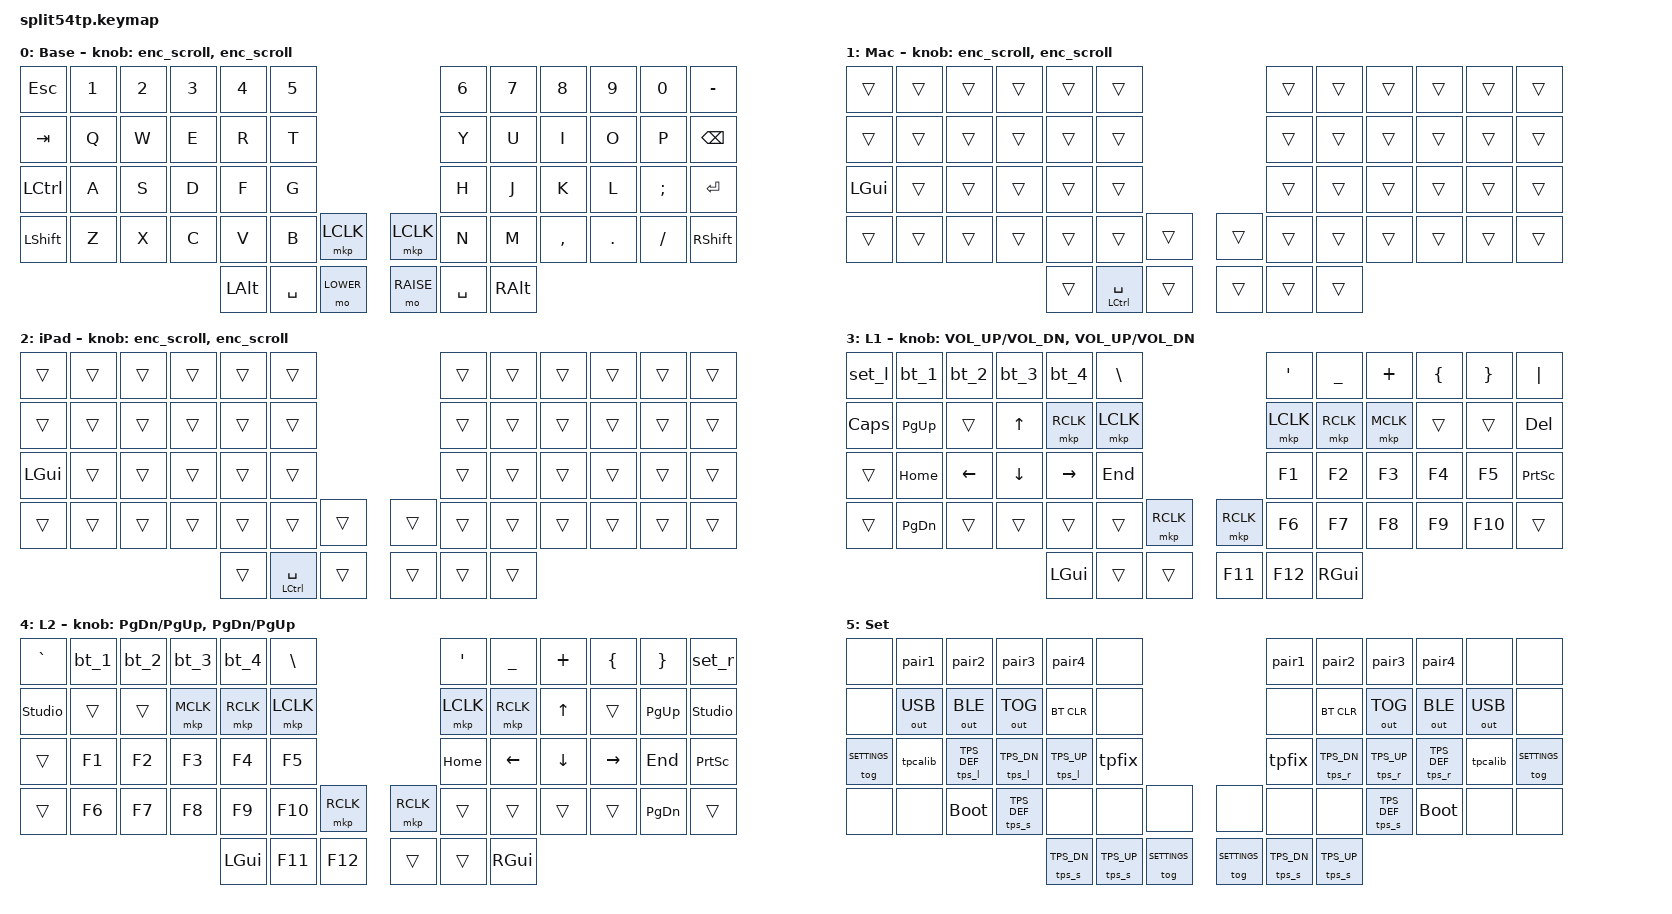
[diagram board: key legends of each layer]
/*
 * split54tp デフォルトキーマップ (US配列 / 手書きレイアウト図準拠)
 * 54キー + ホイールエンコーダのプッシュ2 = 56ポジション
 *
 *  ┌─────┬─────┬─────┬─────┬─────┬─────┐   ┌─────┬─────┬─────┬─────┬─────┬─────┐
 *  │ ESC │  1  │  2  │  3  │  4  │  5  │   │  6  │  7  │  8  │  9  │  0  │  -  │  (2026-11-01: DEL → -。DEL は L1 + BS)
 *  ├─────┼─────┼─────┼─────┼─────┼─────┤   ├─────┼─────┼─────┼─────┼─────┼─────┤
 *  │ TAB │  Q  │  W  │  E  │  R  │  T  │   │  Y  │  U  │  I  │  O  │  P  │ BS  │
 *  ├─────┼─────┼─────┼─────┼─────┼─────┤ ◉ ├─────┼─────┼─────┼─────┼─────┼─────┤  ◉=スティック
 *  │CTRL │  A  │  S  │  D  │  F  │  G  │   │  H  │  J  │  K  │  L  │  ;  │ ENT │
 *  ├─────┼─────┼─────┼─────┼─────┼─────┤ ≡ ├─────┼─────┼─────┼─────┼─────┼─────┤  ≡=スクロールホイール
 *  │SHIFT│  Z  │  X  │  C  │  V  │  B  │   │  N  │  M  │  ,  │  .  │  /  │SHIFT│
 *  └─────┴─────┴─────┼─────┼─────┼─────┤   ├─────┼─────┼─────┼─────┴─────┴─────┘
 *                    │ALT  │SPC  │ L1  │   │ L2  │SPC  │ALT  │
 *                    └─────┴─────┴─────┘   └─────┴─────┴─────┘
 *
 * ★ ZMK Studio 対応ビルドです (右=セントラルのみ)。
 *   https://zmk.studio/ に接続すると、再ビルドなしでキー割当を変更できます。
 *   変更するには、まず &studio_unlock を押してロックを解除します。
 *     L2 + Tab位置 … 左半身  (2026-11-01 変更)
 *     L2 + BS位置  … 右半身  (2026-11-01 変更)
 *   ⚠ 切断するか、Studio上で一定時間操作しないと再びロックされる。
 *     https://zmk.dev/docs/keymaps/behaviors/studio-unlock
 *
 *   ⚠ 一度 Studio でキーマップを保存すると、このファイルへの変更は反映されなくなります。
 *     戻すには Studio の "Restore Stock Settings" を実行してください。
 *     以降、このファイルは「初期値」と「Studioで使えるレイヤー枠」を決めるものになります。
 *
 * ★ ファームウェア書き換え用のキー (2026-08-31 追加 / 2026-11-01 左右とも変更 / 2026-11-04 設定レイヤーへ移動)
 *     設定レイヤーの X (左手だけ) → 左半身をブートローダへ
 *     設定レイヤーの . (右手だけ) → 右半身をブートローダへ
 *   ⚠ キーマップは右で処理するので、左の書き換えにも右の電源と左右の接続が要る。
 *     https://zmk.dev/docs/features/split-keyboards
 *
 * ★ 設定レイヤー (2026-11-04 追加。下の settings_layer)
 *   書き換え・TP 校正・TP 感度・BT 消去・USB / BT 出力の切り替えをまとめた。
 *   片側が使えなくても、もう片側だけで入って設定できるように左右に同じものを置いた。
 *     入る: 左 = L1 + Shift + Esc の位置 / 右 = L2 + Shift + - の位置 (Shift を押していなければ今までどおり ` / |)
 *     出る: L1 / L2 / 左 Ctrl / Enter のどれかを押す
 *   入ったままになる (&tog)。ほかのキーは何もしない (&none) ので、文字が打てなければ設定レイヤーにいる。
 *   OLED のレイヤー名は "Set"。

 * ★★ チャーリープレックスのゴースト (2026-09-12 実機で確定) ★★
 *
 *   内側親指 RC(5,6) を押している間、sense線5のキー (7/U/J/M) を押すと
 *   ダイオードが直列につながり、sense線6の同じ行 (6/Y/H/N) が
 *   「押された」ことになる。逆に drive線6のキー (9/O/L/.) を押すと
 *   (0/P/;//) が立つ。これは電気的な制約でファームでは直せない。
 *
 *   実害の例: L2 + M → ゴーストで N が立ち、旧配置の &bootloader が発火して
 *             右半身がブートローダに入る (2026-09-12 に3時間を費やした)
 *             L2 + J → ← に加えて H の右クリックが出る (現在も再現する)
 *
 *   【原則】内側親指と併用するレイヤーでは、次の8か所に
 *           破壊的な操作やマウスクリックを置かないこと。
 *             6 / Y / H / N  (右・global col 13)
 *             0 / P / ; / /  (右)
 *           左半身も対称に 5 / T / G / B と同等の位置が該当する。
 *
 *   【ゴースト非対象の安全な位置】(内側親指と併用しても幽霊が立たない)
 *             右: I, BSPC, ,(カンマ), 右Shift
 *           → &bootloader と &studio_unlock はここへ逃がしてある。
 *
 *   rev.6 では親指キーとメイン列の電気的マッピングを見直すこと (最重要課題)。
 *
 *   ★ 2026-09-26 rev.6 で解決: 配線割当を見直し、保持キー併用時のゴーストは
 *     すべて未使用ペアに落ちる (実機で確認)。L1/L2 の &none 退避を撤去し、
 *     ゴースト対策前 (split54tp.keymap.bak4-20260912) の配置に戻した。
 *     &bootloader(L2+BSPC) / &studio_unlock(L2+Shift) の位置は bak4 のまま。
 *     上記の説明は rev.5 の記録として残す。
 *
 *   ZMK公式: リセット系ビヘイビアは「押した側」にだけ作用する (source-specific)。
 *   そのため左右それぞれにキーが必要。コンボにすると常にセントラル(右)側で
 *   実行されてしまうため、通常のキーとして両側に置いている。
 *   https://zmk.dev/docs/keymaps/behaviors/reset
 *
 *   ⚠ これはファームが正常に起動し、キーが反応する場合にのみ使える。
 *     起動しない / 配線ミスで反応しない場合は、XIAO のリセットボタンを
 *     素早く2回押す (ハードウェア側の最後の砦)。
 *
 * エンコーダは横軸のスクロールホイール(マウスホイール方式)。
 * ※ エンコーダへの behavior 割当は ZMK Studio では未対応のため、ここで定義します。
 * 回転はマウスのホイールスクロールとして送出する (&msc SCRL_UP / SCRL_DOWN)。
 * スクロール方向が逆の場合は enc_scroll の bindings を入れ替える。
 */

#include <behaviors.dtsi>
#include <dt-bindings/zmk/keys.h>
#include <dt-bindings/zmk/bt.h>
/*
 * ★ マウススクロールの速度 (既定: 10)
 *   &msc は押下時間に比例して積算する速度ベースの挙動。エンコーダは
 *   press→release が一瞬なので、既定値のままだと積算量がほぼ0になり動かない。
 *   下の scroll_dn / scroll_up マクロのホールド時間とセットで調整する。
 *   https://zmk.dev/docs/keymaps/behaviors/mouse-emulation
 */
#define ZMK_POINTING_DEFAULT_SCRL_VAL 80
#include <dt-bindings/zmk/pointing.h>
#include <dt-bindings/zmk/outputs.h>
#include <dt-bindings/zmk/modifiers.h>

/*
 * ★ 2026-10-31 LPPS の強制キャリブレーション (L2 + / に割当。2026-11-01 に . から移動)
 *   押すと、次に MOTION が来たときにドライバがレジスタ 0x04 に 1 を書く。そのときにスティックに触っていないこと。
 *   セントラル (右) で実行されるので、効くのは右の LPPS だけ。
 *   https://github.com/sekigon-gonnoc/zmk-driver-lpps
 *
 * ★ 2026-11-04 ドライバの &ps_calib をやめ、自作の &tpcalib (押した側の LPPS を校正) に替えた。
 *   設定レイヤーの Z (左) / / (右)。中身はドライバと同じ (lpps_request_write) で、実行する半身だけが違う。
 *   zmk-config の src/behaviors/behavior_tp_calib_local.c。左のファームにも入るので、左も書き直すこと。
 *   そのため lpps-calibration.dtsi は読み込まない。
 */

/*
 * ---- レイヤー構成 ----
 *  ZMKには「BLEプロファイルごとのキーマップ」機能は存在しない。
 *  レイヤーは全プロファイル共通なので、"プロファイル切替と同時にOS用の
 *  ベースレイヤーへ移動する" マクロを組んで等価の運用を実現する。
 *
 *  &to は「デフォルトレイヤー以外を全て無効化」する仕様なので、
 *  OS別レイヤーは差分(修飾キーの入れ替え)だけを書き、
 *  残りは &trans にしてレイヤー0を透過させればよい。
 *  https://zmk.dev/docs/keymaps/behaviors/layers
 */
/*
 * ★ 2026-11-01 OS 別のレイヤーを L1 / L2 より小さい番号に変更。
 *   番号が大きいレイヤーが優先されるので、Mac / iPad が上だと L2 + 左 Space (F11) や
 *   L1 / L2 のホイールが Mac / iPad の設定に隠れる。番号は下の keymap ノードの並びと合わせること。
 *   https://zmk.dev/docs/keymaps
 */
#define BASE  0   // Windows / 会社PC (デフォルト)
#define MAC   1   // Mac      : 左 CTRL の位置 → CMD、左 Space の長押し → CTRL
#define IPAD  2   // iPad     : Mac と同じ配列 (将来分けられるよう別レイヤーにしてある)
#define LOWER 3
#define RAISE 4
#define SETTINGS 5   // 設定レイヤー (2026-11-04)。L1 / L2 より上に置き、入っている間は L1 / L2 より優先する

// &tps_l / &tps_r (TP 感度) の引数 (src/behaviors/behavior_tp_speed.c と合わせる)
#define TPS_DN  0   // 1 段下げる
#define TPS_UP  1   // 1 段上げる
#define TPS_DEF 2   // 既定 (100%) に戻す

/ {
    behaviors {
        /*
         * ---- BLEプロファイル切替 (CTRL + 数字キー) ----
         * ベースの 1/2/3/4 の位置に置く。レイヤー(L1/L2)上で
         *   そのまま押す        → 記号 ( - = [ ] )
         *   CTRLを押しながら    → BLEプロファイル 1〜4 に切替/ペアリング
         * keep-mods は既定の0なので、CTRLはホストへ送出されない。
         * https://zmk.dev/docs/keymaps/behaviors/mod-morph
         *
         * ZMKは既定で5プロファイルを持つが、ここでは4つだけを使う。
         * https://zmk.dev/docs/features/bluetooth#profiles
         */
        /*
         * プロファイル切替 = BLEプロファイル選択 + OS用ベースレイヤーへ移動
         *   1: Mac  / 2: Windows(会社PC) / 3: iPad / 4: 予備(Windows配列)
         */
        prof1_mac: prof1_mac {
            compatible = "zmk,behavior-macro";
            #binding-cells = <0>;
            bindings = <&bt BT_SEL 0>, <&to MAC>;
        };
        prof2_win: prof2_win {
            compatible = "zmk,behavior-macro";
            #binding-cells = <0>;
            bindings = <&bt BT_SEL 1>, <&to BASE>;
        };
        prof3_ipad: prof3_ipad {
            compatible = "zmk,behavior-macro";
            #binding-cells = <0>;
            bindings = <&bt BT_SEL 2>, <&to IPAD>;
        };
        prof4_spare: prof4_spare {
            compatible = "zmk,behavior-macro";
            #binding-cells = <0>;
            bindings = <&bt BT_SEL 3>, <&to BASE>;
        };

        /*
         * ★ 2026-11-11 ボタン一つでペアリング (ユーザー指定)。設定レイヤーの 左 1〜4 / 右 6〜9 = BT1〜BT4。
         *   出力を BT にする → その番号を選ぶ → その番号の登録を消す (ペアリング待ちになる) → その OS のレイヤーへ。
         *   &to で設定レイヤーから出る。OLED は「BTn ⚙」(歯車 = ペアリング待ち)。相手の機器でも古い登録を消してからペアリングする。
         *   ⚠ 押すとその番号の登録が消える (ほかの番号と、左右の間の接続は消えない)。
         *   https://zmk.dev/docs/keymaps/behaviors/bluetooth / https://zmk.dev/docs/keymaps/behaviors/outputs
         */
        pair1: pair1 {
            compatible = "zmk,behavior-macro";
            #binding-cells = <0>;
            bindings = <&out OUT_BLE>, <&bt BT_SEL 0>, <&bt BT_CLR>, <&to MAC>;
        };
        pair2: pair2 {
            compatible = "zmk,behavior-macro";
            #binding-cells = <0>;
            bindings = <&out OUT_BLE>, <&bt BT_SEL 1>, <&bt BT_CLR>, <&to BASE>;
        };
        pair3: pair3 {
            compatible = "zmk,behavior-macro";
            #binding-cells = <0>;
            bindings = <&out OUT_BLE>, <&bt BT_SEL 2>, <&bt BT_CLR>, <&to IPAD>;
        };
        pair4: pair4 {
            compatible = "zmk,behavior-macro";
            #binding-cells = <0>;
            bindings = <&out OUT_BLE>, <&bt BT_SEL 3>, <&bt BT_CLR>, <&to BASE>;
        };

        bt_1: bt_1 {
            compatible = "zmk,behavior-mod-morph";
            #binding-cells = <0>;
            bindings = <&kp MINUS>, <&prof1_mac>;
            mods = <(MOD_LCTL|MOD_RCTL)>;
        };
        bt_2: bt_2 {
            compatible = "zmk,behavior-mod-morph";
            #binding-cells = <0>;
            bindings = <&kp EQUAL>, <&prof2_win>;
            mods = <(MOD_LCTL|MOD_RCTL)>;
        };
        bt_3: bt_3 {
            compatible = "zmk,behavior-mod-morph";
            #binding-cells = <0>;
            bindings = <&kp LBKT>, <&prof3_ipad>;
            mods = <(MOD_LCTL|MOD_RCTL)>;
        };
        bt_4: bt_4 {
            compatible = "zmk,behavior-mod-morph";
            #binding-cells = <0>;
            bindings = <&kp RBKT>, <&prof4_spare>;
            mods = <(MOD_LCTL|MOD_RCTL)>;
        };

        /*
         * ★ 2026-11-01 Mac / iPad の左 Space: 短く押すと Space、約 0.2 秒以上押すと CTRL
         *   Mac / iPad レイヤーは左 CTRL の位置が CMD になり CTRL が無くなるので、ここに置く。
         *   プロファイルの切り替えも、左 Space の長押し + L2 + 1〜4 でできる（L1 は同じ親指なので押せない）。
         *   左 Space を先に押すこと。L2 を先に押すと L2 + 左 Space = F11 になる。
         *   tap-preferred: 判定は時間だけで決まる。他のキーを一緒に押しても CTRL に早変わりしない。
         *   quick-tap-ms: 短く押してすぐ押し直すと Space のまま（押し続ければ連続入力）。
         *   https://zmk.dev/docs/keymaps/behaviors/hold-tap
         */
        ctl_spc: ctl_spc {
            compatible = "zmk,behavior-hold-tap";
            #binding-cells = <2>;
            flavor = "tap-preferred";
            tapping-term-ms = <200>;
            quick-tap-ms = <200>;
            bindings = <&kp>, <&kp>;
        };

        /*
         * ホイール回転 → マウススクロール
         *
         * ⚠ 2026-09-03 実機で判明: bindings に &msc を直接書くと「全く動かない」。
         *   &msc / &mmv は zmk,behavior-input-two-axis の実装で、
         *   「押している間だけ動く」速度ベースの挙動 (time-to-max-speed-ms=300 /
         *   acceleration-exponent=0)。エンコーダの回転は press→release が一瞬なので
         *   積算量がほぼ0になり、ホストへ何も送られない。
         *   (L2 の &rot_kp PG_DN PG_UP はキーイベントなので問題なく動いた)
         *
         *   → マクロで press → wait-ms → release とし、一定時間ホールドさせる。
         *
         * ★ 調整点 (実機で追い込むこと)
         *     動かない        → wait-ms を長くする / SCRL_VAL を上げる
         *     行き過ぎる      → wait-ms を短くする / SCRL_VAL を下げる
         *     速く回すと遅れる → wait-ms を短くし、SCRL_VAL を上げて補う
         *   目安: SCRL_VAL は「毎秒Nクリック」相当。1クリックに 1000/N ms かかる。
         *         SCRL_VAL=80 → 1クリック12.5ms → wait-ms=40 で1ノッチ約3.2クリック。
         *   履歴: 40/40 (約1.6クリック) は「動くが少なすぎる」→ 80 へ (2026-09-03 実機)
         *         rev.6 (CKW12) で 80/40 は「マウスより1ノッチの移動量が大きい」→ wait-ms 20 へ (2026-09-26)
         *
         * https://zmk.dev/docs/keymaps/behaviors/mouse-emulation
         */
        scroll_dn: scroll_dn {
            compatible = "zmk,behavior-macro";
            #binding-cells = <0>;
            wait-ms = <20>;
            tap-ms = <10>;
            bindings = <&macro_press &msc SCRL_DOWN>, <&macro_release &msc SCRL_DOWN>;
        };
        scroll_up: scroll_up {
            compatible = "zmk,behavior-macro";
            #binding-cells = <0>;
            wait-ms = <20>;
            tap-ms = <10>;
            bindings = <&macro_press &msc SCRL_UP>, <&macro_release &msc SCRL_UP>;
        };

        // 公式: https://zmk.dev/docs/keymaps/behaviors/sensor-rotate
        enc_scroll: enc_scroll {
            compatible = "zmk,behavior-sensor-rotate";
            #sensor-binding-cells = <0>;
            bindings = <&scroll_dn>, <&scroll_up>;
        };

        // 参考: キー送出にしたい場合はこちらを sensor-bindings に使う
        rot_kp: rot_kp {
            compatible = "zmk,behavior-sensor-rotate-var";
            #sensor-binding-cells = <2>;
            bindings = <&kp>, <&kp>;
        };

        /*
         * ★ 2026-11-04 設定レイヤーに入るキー (Shift を押しているときだけ入る)
         *   左: L1 + Shift + Esc の位置 / 右: L2 + Shift + - の位置
         *   Shift なしなら今までどおり ` / | を送る。
         *   L1 + Shift + Esc の位置は今まで ~ だった。~ は L2 + Shift + Esc の位置で打てる。
         *   L2 + Shift + - の位置は今までも | (Shift を足しても同じ) だった。
         *   ゴースト: L1 + Shift + Esc は RC(4,0) + RC(0,3) + RC(5,2)。立ちうるのは RC(4,3) で、
         *   使っていない組み合わせ (右も同じ並び)。
         *   https://zmk.dev/docs/keymaps/behaviors/mod-morph
         */
        set_l: set_l {
            compatible = "zmk,behavior-mod-morph";
            #binding-cells = <0>;
            bindings = <&kp GRAVE>, <&tog SETTINGS>;
            mods = <(MOD_LSFT|MOD_RSFT)>;
        };
        set_r: set_r {
            compatible = "zmk,behavior-mod-morph";
            #binding-cells = <0>;
            bindings = <&kp PIPE>, <&tog SETTINGS>;
            mods = <(MOD_LSFT|MOD_RSFT)>;
        };

        /*
         * ★ 2026-11-04 TP 校正 (押した側の LPPS)。ノード名は 8 文字以内 (左で実行させるため)。
         *   src/behaviors/behavior_tp_calib_local.c
         */
        tpcalib: tpcalib {
            compatible = "zmk,behavior-tp-calib-local";
            #binding-cells = <0>;
            display-name = "TP Calibrate";
        };

        /*
         * ★ 2026-11-11 TP 復旧 (試し)。押した側の LPPS に、ドライバと同じ読み取り (3 バイト + バスを閉じる 1 バイト) を送り、
         *   結果を押した側の OLED の TP の行に 10 秒出す (「FIX 前>後 ok」など)。設定レイヤーの F (左) / J (右)。
         *   電源を入れたまま置くと TP が止まり、LPPS の電源を切るまで戻らないことがある (keyboard-project/docs/rev7-修正計画.md 手順 161〜163)。
         *   止まったときにこれで戻るかを見るためのもの。ノード名は 8 文字以内 (左で実行させるため)。
         *   src/behaviors/behavior_tp_fix.c
         */
        tpfix: tpfix {
            compatible = "zmk,behavior-tp-fix";
            #binding-cells = <0>;
            display-name = "TP Fix";
        };

        /*
         * ★ 2026-11-04 TP 感度 (左右別)。&tps_l TPS_DN などで使う。
         *   段は split54tp.dtsi の tp_speed_l / tp_speed_r (25〜300%、13 段、既定 100%)。
         *   src/behaviors/behavior_tp_speed.c
         */
        tps_l: tps_l {
            compatible = "zmk,behavior-tp-speed";
            #binding-cells = <1>;
            processor = <&tp_speed_l>;
            display-name = "TP Speed L";
        };
        tps_r: tps_r {
            compatible = "zmk,behavior-tp-speed";
            #binding-cells = <1>;
            processor = <&tp_speed_r>;
            display-name = "TP Speed R";
        };
        /* ★ 2026-11-11 スクロールの速さ (L1 / L2 + スティック、左右共通)。段は split54tp.dtsi の tp_scroll_speed (0.5〜12.5%、10 段、既定 2%) */
        tps_s: tps_s {
            compatible = "zmk,behavior-tp-speed";
            #binding-cells = <1>;
            processor = <&tp_scroll_speed>;
            display-name = "Scroll Speed";
        };
    };

    keymap {
        compatible = "zmk,keymap";

        default_layer {
            display-name = "Base";
            bindings = <
&kp ESC    &kp N1  &kp N2  &kp N3  &kp N4  &kp N5        &kp N6  &kp N7  &kp N8     &kp N9   &kp N0    &kp MINUS
&kp TAB    &kp Q   &kp W   &kp E   &kp R   &kp T         &kp Y   &kp U   &kp I      &kp O    &kp P     &kp BSPC
&kp LCTRL  &kp A   &kp S   &kp D   &kp F   &kp G         &kp H   &kp J   &kp K      &kp L    &kp SEMI  &kp ENTER
&kp LSHFT  &kp Z   &kp X   &kp C   &kp V   &kp B         &kp N   &kp M   &kp COMMA  &kp DOT  &kp FSLH  &kp RSHFT
                           &kp LALT  &kp SPACE  &mo LOWER     &mo RAISE  &kp SPACE  &kp RALT
&mkp LCLK                                                                     &mkp LCLK   // ホイールのプッシュ = 左クリック (2026-11-01)
            >;
            sensor-bindings = <&enc_scroll &enc_scroll>;
        };

        mac_layer {
            display-name = "Mac";
            /* Macの修飾キー: 左CTRLの位置→CMD / 左Spaceの長押し→CTRL。他は &trans でレイヤー0を透過 */
            bindings = <
            &trans    &trans    &trans    &trans    &trans    &trans    &trans    &trans    &trans    &trans    &trans    &trans      // num
            &trans    &trans    &trans    &trans    &trans    &trans    &trans    &trans    &trans    &trans    &trans    &trans      // upper
            &kp LGUI  &trans    &trans    &trans    &trans    &trans    &trans    &trans    &trans    &trans    &trans    &trans      // home : 左CTRLの位置 → CMD(GUI)
            &trans    &trans    &trans    &trans    &trans    &trans    &trans    &trans    &trans    &trans    &trans    &trans      // lower
            &trans    &ctl_spc LCTRL SPACE    &trans    &trans    &trans    &trans      // thumb: 外側は LALT(=Opt) のまま透過。左Space の長押し = CTRL
            &trans    &trans      // ホイールのプッシュ
            >;
            sensor-bindings = <&enc_scroll &enc_scroll>;
        };

        ipad_layer {
            display-name = "iPad";
            /* iPadOSもCMD系。中身はMacと同じだが、将来分けられるよう別レイヤーにしてある */
            bindings = <
            &trans    &trans    &trans    &trans    &trans    &trans    &trans    &trans    &trans    &trans    &trans    &trans      // num
            &trans    &trans    &trans    &trans    &trans    &trans    &trans    &trans    &trans    &trans    &trans    &trans      // upper
            &kp LGUI  &trans    &trans    &trans    &trans    &trans    &trans    &trans    &trans    &trans    &trans    &trans      // home : 左CTRLの位置 → CMD(GUI)
            &trans    &trans    &trans    &trans    &trans    &trans    &trans    &trans    &trans    &trans    &trans    &trans      // lower
            &trans    &ctl_spc LCTRL SPACE    &trans    &trans    &trans    &trans      // thumb: 外側は LALT(=Opt) のまま透過。左Space の長押し = CTRL
            &trans    &trans      // ホイールのプッシュ
            >;
            sensor-bindings = <&enc_scroll &enc_scroll>;
        };

        lower_layer {
            display-name = "L1";   // OLED の表示 (2026-11-01)
            /*
             * ★ 2026-11-11 (ユーザー指定) PgUp / PgDn を Home・End の上下へ: L1 は Q = PgUp・Z = PgDn (左)、L2 は P = PgUp・/ = PgDn (右)。
             *   もとの PgUp の位置 (L1 の T / L2 の Y) は左クリック。もとの PgDn の位置 (L1 の B / L2 の N) は Base と同じ (&trans)。
             *   ゴースト (配線表から計算): L1 + 左 Shift + Q → A (Home) / L2 + 右 Shift + P → ; (End) が立つ。
             *     Shift + PgUp (範囲選択) は、反対側の Shift で押すこと (左右の間ではゴーストは立たない)。
             *   前からあるもの: L2 + 右 Shift + U (右クリック。2026-11-11 (2 回目) までは左クリック) → K (↓)、L1 + 左 Shift + R (右クリック) → D (↓)。
             *   L1 / L2 を押している間、スティックは上下スクロールになる (split54tp_right.overlay の tp_scroll)。
             * ★ 2026-11-11 (2 回目、ユーザー指定) クリックの並べ替え:
             *   L1 右: 左クリック U → Y (F1 の上)、右クリック O → U (もとの左クリックの場所)。O は Base と同じ (&trans)。
             *   L2 左: 左クリック W → T (F5 の上)。W は Base と同じ。/ L2 右: 右クリック O → U (← の上)。O は Base と同じ。
             *   これで「L1 の右 Y U I」と「L2 の左 T R E」が左右対称 (左・右・中クリック) になる。
             *   ★ 2026-11-11 (3 回目、ユーザー指定) L1 の左 W (PgUp の右) の左クリックを削除 → Base と同じ。L1 の左のクリックは T (左)・R (右)。
             *   ゴースト (配線表から計算): Shift / Ctrl + 新しいクリックの場所では立たない。
             *     立つのはめったに押さない組み合わせだけ: L2 + U (右クリック) + O → Y (左クリック)、L2 + 4 + 左ホイール押し → T (左クリック)、
             *     L1 + 7 + 右ホイール押し → Y (左クリック)、L1 + 7 + M (F7) → U (右クリック) など。
             */
            bindings = <
&set_l         &bt_1          &bt_2          &bt_3          &bt_4          &kp BSLH         &kp SQT        &kp UNDER      &kp PLUS       &kp LBRC       &kp RBRC       &kp PIPE   // 記号 (L1/L2共通)  ` - = [ ] \  |  ' _ + { } |   ★ 2026-11-04 Esc の位置 = Shift と一緒に押すと設定レイヤーへ (Shift なしは `)
&kp CAPS       &kp PG_UP      &trans         &kp UP         &mkp RCLK      &mkp LCLK        &mkp LCLK      &mkp RCLK      &mkp MCLK      &trans         &trans         &kp DEL   // 左: Tab の位置=CapsLock Q=PgUp E=↑ R=右クリック T=左クリック (2026-11-11 T の PgUp を Q へ、T は左クリック。(3 回目) W の左クリックを削除 = Base と同じ)  /  右: Y=左クリック U=右クリック I=中クリック、BS の位置=DEL (2026-11-11 (2 回目) 左クリックを U から Y (F1 の上) へ、右クリックを O から U へ。O は Base と同じ)
&trans         &kp HOME       &kp LEFT       &kp DOWN       &kp RIGHT      &kp END          &kp F1         &kp F2         &kp F3         &kp F4         &kp F5         &kp PSCRN   // 左: A=Home S← D↓ F→ G=End  /  右: F1-F5、Enter の位置=PrtSc (2026-11-01)
&trans         &kp PG_DN      &trans         &trans         &trans         &trans           &kp F6         &kp F7         &kp F8         &kp F9         &kp F10        &trans   // 左: Z=PgDn (2026-11-11 B から Home の下へ)  /  右: F6-F10 (2026-11-01)。X の書き換えは設定レイヤーへ移した (2026-11-04)
                                               &kp LGUI       &trans         &trans           &kp F11        &kp F12        &kp RGUI   // thumb: 外側=GUI(Win/Cmd)。左=左GUI、右=右GUI / L2 の位置=F11 右Space=F12 (2026-11-01)
&mkp RCLK                                                                                             &mkp RCLK   // ホイールのプッシュ = 右クリック (2026-11-01)
            >;
            // 下位レイヤーではホイールを音量に
            sensor-bindings = <&rot_kp C_VOL_UP C_VOL_DN &rot_kp C_VOL_UP C_VOL_DN>;
        };

        raise_layer {
            display-name = "L2";   // OLED の表示 (2026-11-01)
            bindings = <
&kp GRAVE      &bt_1          &bt_2          &bt_3          &bt_4          &kp BSLH         &kp SQT        &kp UNDER      &kp PLUS       &kp LBRC       &kp RBRC       &set_r     // 記号 (L1と同一)。★ 2026-11-04 - の位置 = Shift と一緒に押すと設定レイヤーへ (Shift なしは |)
&studio_unlock &trans         &trans         &mkp MCLK      &mkp RCLK      &mkp LCLK          &mkp LCLK      &mkp RCLK      &kp UP         &trans         &kp PG_UP      &studio_unlock   // 左: Tab の位置=Studio解除 E=中クリック R=右クリック T=左クリック (2026-11-11 (2 回目) 左クリックを W から T (F5 の上) へ。W は Base と同じ。L1 の右 Y U I と左右対称) / 右: Y=左クリック (2026-11-11 PgUp から) U=右クリック (2026-11-11 (2 回目) ← の上。O から) I=↑ P=PgUp (2026-11-11 Y から) BS の位置=Studio解除 (2026-11-01)。O は Base と同じ。Q〜R の出力の切り替え・BT 消去は設定レイヤーへ移した (2026-11-04)
&trans         &kp F1         &kp F2         &kp F3         &kp F4         &kp F5           &kp HOME       &kp LEFT       &kp DOWN       &kp RIGHT      &kp END        &kp PSCRN   // 左: F1-F5 (2026-11-01)  /  右: H=Home J← K↓ L→ ;=End Enter の位置=PrtSc
&trans         &kp F6         &kp F7         &kp F8         &kp F9         &kp F10          &trans         &trans         &trans         &trans         &kp PG_DN      &trans   // 左: F6-F10 / 右: /=PgDn (2026-11-11 N から End の下へ)。. の書き換え・/ の TP 校正は設定レイヤーへ移した (2026-11-04)
                                               &kp LGUI       &kp F11        &kp F12          &trans         &trans         &kp RGUI   // thumb: 外側=GUI(Win/Cmd)。左=左GUI、右=右GUI / 左Space=F11 L1 の位置=F12 (2026-11-01)
&mkp RCLK                                                                                             &mkp RCLK   // ホイールのプッシュ = 右クリック (2026-11-01)
            >;
            // 上位レイヤーではホイールを水平スクロールに
            sensor-bindings = <&rot_kp PG_DN PG_UP &rot_kp PG_DN PG_UP>;
        };

        /*
         * ★ 2026-11-04 設定レイヤー (SETTINGS = 5)
         *   入る: 左 = L1 + Shift + Esc の位置 / 右 = L2 + Shift + - の位置 (&set_l / &set_r)
         *   出る: L1 / L2 / 左 Ctrl / Enter (&tog SETTINGS)。入ったままになるので、終わったら必ず出る。
         *   ほかのキーは &none。文字が打てなければ設定レイヤーにいる (OLED は "Set")。
         *   片側だけでも使えるよう、左右に同じものを置いた (左のキー = 左に効く / 右のキー = 右に効く)。
         *     左: Q=USB へ W=BT へ E=USB と BT の切り替え R=BT 消去 / A=TP 校正 S=感度を既定に戻す D=感度を下げる F=感度を上げる G=TP 復旧 / X=書き換え C=スクロールを既定に
         *     右: P=USB へ O=BT へ I=USB と BT の切り替え U=BT 消去 / ;=TP 校正 L=感度を既定に戻す J=感度を下げる K=感度を上げる H=TP 復旧 / .=書き換え ,=スクロールを既定に
         *   ★ 2026-11-11 (3 回目、ユーザー指定「設定レイヤーの TP 関連は左右とも TP がある行に全て移す」):
         *     TP の行 (A〜G / H〜;) の 5 つに、TP 校正・感度戻す・感度−・感度＋・TP 復旧を置いた。並びは Claude が決めた:
         *       ・TP 校正 (Z / /) と感度−・＋ (C V / M ,) は 1 段上へ (同じ指)。TP 復旧は TP のすぐ隣の G / H。
         *       ・感度戻す は S / L。右で設定レイヤーに入るキー (-) を押したまま L を押すと BT1 のペアリングが立つ (配線表から計算) ので、
         *         入った直後に押すことが多そうな TP 復旧ではなく、あまり押さない感度戻すを L にした。入ったら指を全部離してから押すこと。
         *       ・スクロールの速さを既定に (前は G / H) は TP の行に入らないので C / , へ (ほかのどのキーと同時に押しても、ペアリング・書き換え・BT 消去が立たない場所)。
         *         遅く・速く (親指の Alt / Space) はそのまま。
         *     ゴースト (計算、2 キー同時): TP の行のキーどうしでは何も立たない。危ないもの: 4 + A → 書き換え、A + V → BT1 ペア、S + B → BT2 ペア、
         *       5 + D → BT4 ペア / 7 + ; → 書き換え、- + L → BT1 ペア、6 + K → BT2 ペア (B・V・5・- はふだん押さない、4・7・6 はペアリングのキー)。
         *   (以下は 2026-11-11 (3 回目) より前の位置の記録)
         *   ★ 2026-11-09 B / N (ホイールの隣) に「感度を既定 (100%) に戻す」(&tps_l / &tps_r TPS_DEF) を置いた (ユーザー指定)。
         *     ゴースト (計算): B + Esc → C (左の感度を下げる)、N + - → , (右の感度を上げる) が立ちうる。書き換え・BT 消去には立たない。
         *   ★ 2026-11-11 F / J に TP 復旧 (&tpfix、試し) を置いた (ユーザー指定)。押した側の LPPS を読み直し、結果を押した側の OLED に 10 秒出す。
         *     ゴースト (計算): F・J はほかのどのキーと同時に押しても、設定レイヤーで何かするキーは立たない。
         *   ★ 2026-11-11 スクロールの速さ (&tps_s、左右共通): 左 Alt の位置 = 遅く・左 Space の位置 = 速く / 右 Space の位置 = 遅く・右 Alt の位置 = 速く /
         *     G・H = 既定 (2%) に戻す。「左のキー = 下げる / 右のキー = 上げる」は感度と同じ。
         *     位置はゴーストの計算で選んだ (ユーザーは位置を指定していない): G・H・親指の Alt・Space は、ほかのどのキーと同時に押しても
         *     ペアリング・書き換え・BT 消去が立たない (S・D・K・L は 1 キーとの同時押しで立つ組み合わせがあったので避けた)。
         *   ★ 2026-11-11 左 1〜4 / 右 6〜9 に「ボタン一つでペアリング」(&pair1〜&pair4 = BT1 Mac / BT2 Win / BT3 iPad / BT4 予備) を置いた (ユーザー指定)。
         *     押すと、出力を BT にし、その番号を選び、その番号の登録を消して、その OS のレイヤーへ移る (設定レイヤーから出る)。
         *     右は 6 = BT1 … 9 = BT4 (数字の順。左右対称ではない)。
         *     ゴースト (計算): 入ったキーを押したまま数字を押すと危ない。左 Esc + 3 / 右 - + 8 → 書き換え (+ BT3 のペアリング)。
         *       入ったら一度すべてのキーから指を離してから数字を押すこと。
         *     2 つ同時に押すとペアリングが立つ組み合わせ: 左 2 + X・3 + V・5 + D・Tab + ホイール・Q + B・E + ホイール・R + X・T + Z・A + V・S + B /
         *       右 6 + K・7 + P・8 + M・9 + .・- + L・Y + /・U + .・I + ホイール・L + N (右は数字の並びが左と対称でないので別に計算)。
         *   Q〜R と P〜U、A〜G と ;〜H、X・C と .・, は、同じ指で同じことができるように左右対称にした (感度の−・＋だけは下の決まりのため対称でない)。
         *   感度は左右とも「左のキー = 下げる / 右のキー = 上げる」(ユーザー指定)。
         *   BT 消去は選択中の接続先 1 台分だけ (左右の間の接続は消えない)。https://zmk.dev/docs/keymaps/behaviors/bluetooth
         *   書き換え (&bootloader) と TP 校正 (&tpcalib) は押した側の半身に効く。
         *   TP 校正は、押したあと次にスティックが値を送ったときに行われる。そのときスティックに触らないこと。
         *   ★ 2026-11-11 (5 回目) 押して 1.5 秒後から 5 秒の間にスティックから値が来たとき (= ドリフトしている) だけ校正する。
         *     来なければ何もしない (ドリフトしていないときに押すと、次に触った力を 0 にしてしまうため)。結果は押した側の OLED に
         *     "CAL ok" / "CAL skip" / "CAL wait!" (src/behaviors/behavior_tp_calib_local.c)。押したら 7 秒ほど触らない。
         *   https://zmk.dev/docs/keymaps/behaviors/layers
         */
        settings_layer {
            display-name = "Set";
            bindings = <
&none          &pair1         &pair2         &pair3         &pair4         &none            &pair1         &pair2         &pair3         &pair4         &none          &none   // 左 1〜4 / 右 6〜9 = BT1〜BT4 をペアリング (2026-11-11)
&none          &out OUT_USB   &out OUT_BLE   &out OUT_TOG   &bt BT_CLR     &none            &none          &bt BT_CLR     &out OUT_TOG   &out OUT_BLE   &out OUT_USB   &none
&tog SETTINGS  &tpcalib       &tps_l TPS_DEF &tps_l TPS_DN  &tps_l TPS_UP  &tpfix           &tpfix         &tps_r TPS_DN  &tps_r TPS_UP  &tps_r TPS_DEF &tpcalib       &tog SETTINGS   // ★ 2026-11-11 (2 回目) TP の行: 左 A=TP 校正 S=感度戻す D=感度− F=感度＋ G=TP 復旧 / 右 H=TP 復旧 J=感度− K=感度＋ L=感度戻す ;=TP 校正。左 Ctrl / Enter の位置 = 設定レイヤーから出る
&none          &none          &bootloader    &tps_s TPS_DEF &none          &none            &none          &none          &tps_s TPS_DEF &bootloader    &none          &none   // X / . = 書き換え / C / , = スクロールの速さを既定に (2026-11-11 (2 回目) G・H から)
                                             &tps_s TPS_DN  &tps_s TPS_UP  &tog SETTINGS    &tog SETTINGS  &tps_s TPS_DN  &tps_s TPS_UP   // L1 / L2 の位置 = 設定レイヤーから出る / 左右とも Alt と Space の位置 = スクロールを遅く・速く (2026-11-11)
&none                                                                                                 &none   // ホイールのプッシュ
            >;
        };

        /*
         * ZMK Studio 用の予約レイヤー。
         * 通常ビルドでは無視され、Studio 有効ビルドでのみ使えるようになる。
         * devicetree で確保した数を超えるレイヤーは Studio では追加できないため、
         * あらかじめ余分に用意しておく。
         * https://zmk.dev/docs/features/studio#including-extra-layers
         */
        extra1 { status = "reserved"; };
        extra2 { status = "reserved"; };
    };
};
